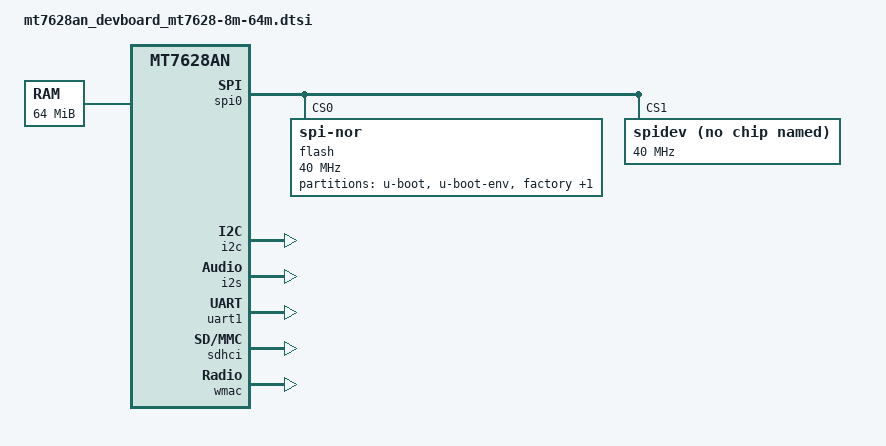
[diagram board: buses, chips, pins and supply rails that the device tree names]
// SPDX-License-Identifier: GPL-2.0-or-later OR MIT

#include "mt7628an.dtsi"

/ {
	chosen {
		bootargs = "console=ttyS0,57600";
	};

	memory@0 {
		device_type = "memory";
		reg = <0x0 0x4000000>;
	};
};

&esw {
	mediatek,portdisable = <0x1e>;
};

&state_default {
	header_gpio {
		groups = "gpio", "spis", "pwm0", "pwm1",
			 "p4led_an", "p3led_an", "p2led_an", "p1led_an";
		function = "gpio";
	};
};

&spi0 {
	status = "okay";

	pinctrl-names = "default";
	pinctrl-0 = <&spi_pins>, <&spi_cs1_pins>;

	flash@0 {
		compatible = "jedec,spi-nor";
		reg = <0>;
		spi-max-frequency = <40000000>;

		partitions {
			compatible = "fixed-partitions";
			#address-cells = <1>;
			#size-cells = <1>;

			partition@0 {
				label = "u-boot";
				reg = <0x0 0x30000>;
				read-only;
			};

			partition@30000 {
				label = "u-boot-env";
				reg = <0x30000 0x10000>;
				read-only;
			};

			factory: partition@40000 {
				label = "factory";
				reg = <0x40000 0x10000>;
				read-only;
			};

			partition@50000 {
				compatible = "denx,uimage";
				label = "firmware";
				reg = <0x50000 0x7b0000>;
			};
		};
	};

	spidev@1 {
		compatible = "rohm,dh2228fv";
		reg = <1>;
		spi-max-frequency = <40000000>;
	};
};

&i2c {
	status = "okay";
};

&gdma {
	status = "okay";
};

&i2s {
	status = "okay";

	pinctrl-names = "default";
	pinctrl-0 = <&i2s_pins>;
};

&uart1 {
	status = "okay";
};

&ethernet {
	nvmem-cells = <&macaddr_factory_28>;
	nvmem-cell-names = "mac-address";
};

&sdhci {
	status = "okay";
};

&wmac {
	status = "okay";

	mediatek,mtd-eeprom = <&factory 0x0>;
};

&factory {
	compatible = "nvmem-cells";
	#address-cells = <1>;
	#size-cells = <1>;

	macaddr_factory_28: macaddr@28 {
		reg = <0x28 0x6>;
	};
};
